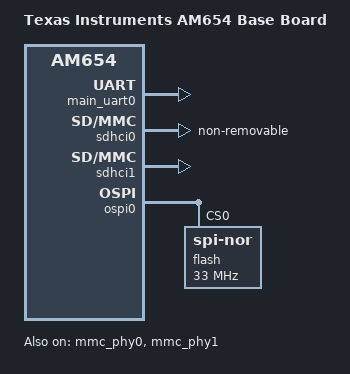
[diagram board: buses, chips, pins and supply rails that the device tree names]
// SPDX-License-Identifier: GPL-2.0
/*
 * Copyright (C) 2016-2018 Texas Instruments Incorporated - http://www.ti.com/
 */

/dts-v1/;

#include "k3-am654.dtsi"

/ {
	compatible =  "ti,am654-evm", "ti,am654";
	model = "Texas Instruments AM654 Base Board";

	chosen {
		stdout-path = "serial2:115200n8";
		bootargs = "earlycon=ns16550a,mmio32,0x02800000";
	};

	reserved-memory {
		#address-cells = <1>;
		#size-cells = <1>;
		ranges;
		secure_ddr: secure_ddr@9e800000 {
			reg = <0x9e800000 0x01800000>; /* for OP-TEE */
			alignment = <0x1000>;
			no-map;
		};
	};
};

&main_uart0 {
	pinctrl-names = "default";
	pinctrl-0 = <&main_uart0_pins_default>;
	status = "okay";
};

&main_pmx0 {
	main_uart0_pins_default: main_uart0_pins_default {
		pinctrl-single,pins = <
			AM65X_IOPAD(0x01e4, PIN_INPUT | MUX_MODE0)	/* (AF11) UART0_RXD */
			AM65X_IOPAD(0x01e8, PIN_OUTPUT | MUX_MODE0)	/* (AE11) UART0_TXD */
			AM65X_IOPAD(0x01ec, PIN_INPUT | MUX_MODE0)	/* (AG11) UART0_CTSn */
			AM65X_IOPAD(0x01f0, PIN_OUTPUT | MUX_MODE0)	/* (AD11) UART0_RTSn */
		>;
	};

	main_mmc0_pins_default: main_mmc0_pins_default {
		pinctrl-single,pins = <
			AM65X_IOPAD(0x01a8, PIN_INPUT_PULLDOWN | MUX_MODE0) /* (B25) MMC0_CLK */
			AM65X_IOPAD(0x01aC, PIN_INPUT_PULLUP | MUX_MODE0) /* (B27) MMC0_CMD */
			AM65X_IOPAD(0x01a4, PIN_INPUT_PULLUP | MUX_MODE0) /* (A26) MMC0_DAT0 */
			AM65X_IOPAD(0x01a0, PIN_INPUT_PULLUP | MUX_MODE0) /* (E25) MMC0_DAT1 */
			AM65X_IOPAD(0x019c, PIN_INPUT_PULLUP | MUX_MODE0) /* (C26) MMC0_DAT2 */
			AM65X_IOPAD(0x0198, PIN_INPUT_PULLUP | MUX_MODE0) /* (A25) MMC0_DAT3 */
			AM65X_IOPAD(0x0194, PIN_INPUT_PULLUP | MUX_MODE0) /* (E24) MMC0_DAT4 */
			AM65X_IOPAD(0x0190, PIN_INPUT_PULLUP | MUX_MODE0) /* (A24) MMC0_DAT5 */
			AM65X_IOPAD(0x018c, PIN_INPUT_PULLUP | MUX_MODE0) /* (B26) MMC0_DAT6 */
			AM65X_IOPAD(0x0188, PIN_INPUT_PULLUP | MUX_MODE0) /* (D25) MMC0_DAT7 */
			AM65X_IOPAD(0x01b4, PIN_INPUT_PULLUP | MUX_MODE0) /* (A23) MMC0_SDCD */
			AM65X_IOPAD(0x01b8, PIN_INPUT | MUX_MODE0) /* (B23) MMC0_SDWP */
			AM65X_IOPAD(0x01b0, PIN_INPUT | MUX_MODE0) /* (C25) MMC0_DS */
		>;
	};

	main_mmc1_pins_default: main_mmc1_pins_default {
		pinctrl-single,pins = <
			AM65X_IOPAD(0x02d4, PIN_INPUT_PULLDOWN | MUX_MODE0) /* (C27) MMC1_CLK */
			AM65X_IOPAD(0x02d8, PIN_INPUT_PULLUP | MUX_MODE0) /* (C28) MMC1_CMD */
			AM65X_IOPAD(0x02d0, PIN_INPUT_PULLUP | MUX_MODE0) /* (D28) MMC1_DAT0 */
			AM65X_IOPAD(0x02cc, PIN_INPUT_PULLUP | MUX_MODE0) /* (E27) MMC1_DAT1 */
			AM65X_IOPAD(0x02c8, PIN_INPUT_PULLUP | MUX_MODE0) /* (D26) MMC1_DAT2 */
			AM65X_IOPAD(0x02c4, PIN_INPUT_PULLUP | MUX_MODE0) /* (D27) MMC1_DAT3 */
			AM65X_IOPAD(0x02dc, PIN_INPUT_PULLUP | MUX_MODE0) /* (B24) MMC1_SDCD */
			AM65X_IOPAD(0x02e0, PIN_INPUT | MUX_MODE0) /* (C24) MMC1_SDWP */
		>;
	};
};

&sdhci0 {
	status = "okay";
	non-removable;
	pinctrl-names = "default";
	pinctrl-0 = <&main_mmc0_pins_default>;
};

&mmc_phy0 {
	status = "okay";
};

&sdhci1 {
	status = "okay";
	pinctrl-names = "default";
	pinctrl-0 = <&main_mmc1_pins_default>;
};

&mmc_phy1 {
	status = "okay";
};

&wkup_pmx0 {
	mcu_fss0_ospi0_pins_default: mcu_fss0_ospi0_pins_default {
		pinctrl-single,pins = <
			AM65X_WKUP_IOPAD(0x0000, PIN_OUTPUT | MUX_MODE0) /* (V1) MCU_OSPI0_CLK */
			AM65X_WKUP_IOPAD(0x0008, PIN_INPUT | MUX_MODE0)	 /* (U2) MCU_OSPI0_DQS */
			AM65X_WKUP_IOPAD(0x000c, PIN_INPUT | MUX_MODE0)  /* (U4) MCU_OSPI0_D0 */
			AM65X_WKUP_IOPAD(0x0010, PIN_INPUT | MUX_MODE0)  /* (U5) MCU_OSPI0_D1 */
			AM65X_WKUP_IOPAD(0x0014, PIN_INPUT | MUX_MODE0)  /* (T2) MCU_OSPI0_D2 */
			AM65X_WKUP_IOPAD(0x0018, PIN_INPUT | MUX_MODE0)  /* (T3) MCU_OSPI0_D3 */
			AM65X_WKUP_IOPAD(0x001c, PIN_INPUT | MUX_MODE0)  /* (T4) MCU_OSPI0_D4 */
			AM65X_WKUP_IOPAD(0x0020, PIN_INPUT | MUX_MODE0)  /* (T5) MCU_OSPI0_D5 */
			AM65X_WKUP_IOPAD(0x0024, PIN_INPUT | MUX_MODE0)  /* (R2) MCU_OSPI0_D6 */
			AM65X_WKUP_IOPAD(0x0028, PIN_INPUT | MUX_MODE0)  /* (R3) MCU_OSPI0_D7 */
			AM65X_WKUP_IOPAD(0x002c, PIN_OUTPUT | MUX_MODE0) /* (R4) MCU_OSPI0_CSn0 */
		>;
	};
};

&ospi0 {
	status = "okay";
	pinctrl-names = "default";
	pinctrl-0 = <&mcu_fss0_ospi0_pins_default>;

	flash@0{
		compatible = "jedec,spi-nor";
		reg = <0x0>;
		spi-tx-bus-width = <1>;
		spi-rx-bus-width = <8>;
		spi-max-frequency = <33000000>;
		cdns,tshsl-ns = <500>;
		cdns,tsd2d-ns = <500>;
		cdns,tchsh-ns = <119>;
		cdns,tslch-ns = <119>;
		cdns,read-delay = <0>;
		#address-cells = <1>;
		#size-cells = <1>;
	};
};
